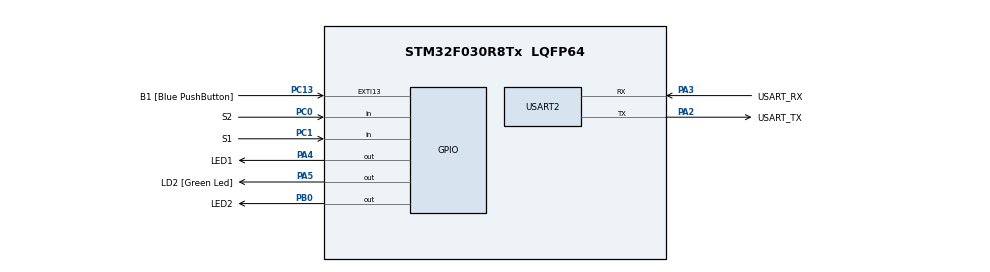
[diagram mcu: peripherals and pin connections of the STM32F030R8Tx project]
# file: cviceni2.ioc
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Mcu.Family=STM32F0
Mcu.Name=STM32F030R8Tx
Mcu.Package=LQFP64
PA13.GPIO_Label=TMS
PA13.Mode=Serial_Wire
PA13.Signal=SYS_SWDIO
PA14.GPIO_Label=TCK
PA14.Mode=Serial_Wire
PA14.Signal=SYS_SWCLK
PA2.GPIO_Label=USART_TX
PA2.GPIO_Mode=GPIO_MODE_AF_PP
PA2.GPIO_PuPd=GPIO_NOPULL
PA2.GPIO_Speed=GPIO_SPEED_FREQ_LOW
PA2.Mode=Asynchronous
PA2.Signal=USART2_TX
PA3.GPIO_Label=USART_RX
PA3.GPIO_Mode=GPIO_MODE_AF_PP
PA3.GPIO_PuPd=GPIO_NOPULL
PA3.GPIO_Speed=GPIO_SPEED_FREQ_LOW
PA3.Mode=Asynchronous
PA3.Signal=USART2_RX
PA4.GPIO_Label=LED1
PA4.Signal=GPIO_Output
PA5.GPIO_Label=LD2 [Green Led]
PA5.GPIO_Mode=GPIO_MODE_OUTPUT_PP
PA5.GPIO_PuPd=GPIO_NOPULL
PA5.GPIO_Speed=GPIO_SPEED_FREQ_LOW
PA5.Signal=GPIO_Output
PB0.GPIO_Label=LED2
PB0.Signal=GPIO_Output
PC0.GPIO_Label=S2
PC0.GPIO_PuPd=GPIO_PULLUP
PC0.Signal=GPIO_Input
PC1.GPIO_Label=S1
PC1.GPIO_PuPd=GPIO_PULLUP
PC1.Signal=GPIO_Input
PC13.GPIO_Label=B1 [Blue PushButton]
PC13.GPIO_ModeDefaultEXTI=GPIO_MODE_IT_FALLING
PC13.Signal=GPXTI13
PC14-OSC32_IN.Mode=LSE-External-Oscillator
PC14-OSC32_IN.Signal=RCC_OSC32_IN
PC15-OSC32_OUT.Mode=LSE-External-Oscillator
PC15-OSC32_OUT.Signal=RCC_OSC32_OUT
PF0-OSC_IN.Mode=HSE-External-Clock-Source
PF0-OSC_IN.Signal=RCC_OSC_IN
PF1-OSC_OUT.Signal=RCC_OSC_OUT
ProjectManager.HeapSize=0x200
ProjectManager.StackSize=0x400
ProjectManager.TargetToolchain=STM32CubeIDE
RCC.AHBFreq_Value=48000000
RCC.APB1Freq_Value=48000000
RCC.APB1TimFreq_Value=48000000
RCC.HCLKFreq_Value=48000000
RCC.PLLMUL=RCC_PLL_MUL12
RCC.SYSCLKFreq_VALUE=48000000
RCC.SYSCLKSource=RCC_SYSCLKSOURCE_PLLCLK
USART2.VirtualMode-Asynchronous=VM_ASYNC
board=NUCLEO-F030R8

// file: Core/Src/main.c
/* USER CODE BEGIN Header */
/**
  ******************************************************************************
  * @file           : main.c
  * @brief          : Main program body
  ******************************************************************************
  * @attention
  *
  * Copyright (c) 2023 STMicroelectronics.
  * All rights reserved.
  *
  * This software is licensed under terms that can be found in the LICENSE file
  * in the root directory of this software component.
  * If no LICENSE file comes with this software, it is provided AS-IS.
  *
  ******************************************************************************
  */
/* USER CODE END Header */
#include "main.h"

/* USER CODE BEGIN PD */
 #define LED_TIME_BLINK 300
 #define LED_TIME_SHORT 100
 #define LED_TIME_LONG 1000
 #define DT 40
 #define DT1 5
/* USER CODE END PD */

void SystemClock_Config(void);
static void MX_GPIO_Init(void);
static void MX_USART2_UART_Init(void);

/* USER CODE BEGIN 0 */
volatile uint32_t Tick;
static uint32_t old_s2;
/*static uint32_t old_s1;
 */
static uint32_t off_time;
static uint16_t debounce = 0xFFFF;

void blikac(void) {
	static uint32_t delay;

	if (Tick > delay + LED_TIME_BLINK) {
		LL_GPIO_TogglePin(LED1_GPIO_Port, LED1_Pin);
		delay = Tick;
	}
}

void tlacitka(void) {
	static uint32_t delay1;
	static uint32_t delay2;
	if (Tick > delay1 + DT) {
		uint32_t new_s2 = LL_GPIO_IsInputPinSet(S2_GPIO_Port, S2_Pin);
		/*
		 * uint32_t new_s1 = LL_GPIO_IsInputPinSet(S1_GPIO_Port, S1_Pin);
		 */
		if (old_s2 && !new_s2) { // falling edge
			off_time = Tick + LED_TIME_SHORT;
			LL_GPIO_SetOutputPin(LED2_GPIO_Port, LED2_Pin);
		}
		old_s2 = new_s2;

		/*
		 if (old_s1 && !new_s1) { // falling edge
		 off_time = Tick + LED_TIME_LONG;
		 LL_GPIO_SetOutputPin(LED2_GPIO_Port, LED2_Pin);
		 }
		 old_s1 = new_s1;
		 delay1 = Tick;
		 */

	}

	if (Tick > off_time) {
		LL_GPIO_ResetOutputPin(LED2_GPIO_Port, LED2_Pin);
	}

	if (Tick > delay2 + DT1) {
		debounce <<= 1;
		if (LL_GPIO_IsInputPinSet(S1_GPIO_Port, S1_Pin)) {
			debounce |= 0x0001;
		}
		if (debounce == 0x7FFF) {

			off_time = Tick + LED_TIME_LONG;
			LL_GPIO_SetOutputPin(LED2_GPIO_Port, LED2_Pin);
			delay1 = Tick;
		}
	}

}
/* USER CODE END 0 */

int main(void)
{

  /* MCU Configuration--------------------------------------------------------*/

  /* Reset of all peripherals, Initializes the Flash interface and the Systick. */
  LL_APB1_GRP2_EnableClock(LL_APB1_GRP2_PERIPH_SYSCFG);
  LL_APB1_GRP1_EnableClock(LL_APB1_GRP1_PERIPH_PWR);

  /* Configure the system clock */
  SystemClock_Config();

  /* Initialize all configured peripherals */
  MX_GPIO_Init();
  MX_USART2_UART_Init();
  /* USER CODE BEGIN 2 */

  LL_SYSTICK_EnableIT();
  /* USER CODE END 2 */

  /* Infinite loop */
  while (1)
  {
	  blikac();
	  tlacitka();
  }
}

void SystemClock_Config(void)
{
  LL_FLASH_SetLatency(LL_FLASH_LATENCY_1);
  while(LL_FLASH_GetLatency() != LL_FLASH_LATENCY_1)
  {
  }
  LL_RCC_HSI_Enable();

   /* Wait till HSI is ready */
  while(LL_RCC_HSI_IsReady() != 1)
  {

  }
  LL_RCC_HSI_SetCalibTrimming(16);
  LL_RCC_PLL_ConfigDomain_SYS(LL_RCC_PLLSOURCE_HSI_DIV_2, LL_RCC_PLL_MUL_12);
  LL_RCC_PLL_Enable();

   /* Wait till PLL is ready */
  while(LL_RCC_PLL_IsReady() != 1)
  {

  }
  LL_RCC_SetAHBPrescaler(LL_RCC_SYSCLK_DIV_1);
  LL_RCC_SetAPB1Prescaler(LL_RCC_APB1_DIV_1);
  LL_RCC_SetSysClkSource(LL_RCC_SYS_CLKSOURCE_PLL);

   /* Wait till System clock is ready */
  while(LL_RCC_GetSysClkSource() != LL_RCC_SYS_CLKSOURCE_STATUS_PLL)
  {

  }
  LL_Init1msTick(48000000);
  LL_SetSystemCoreClock(48000000);
}

static void MX_USART2_UART_Init(void)
{

  LL_USART_InitTypeDef USART_InitStruct = {0};

  LL_GPIO_InitTypeDef GPIO_InitStruct = {0};

  /* Peripheral clock enable */
  LL_APB1_GRP1_EnableClock(LL_APB1_GRP1_PERIPH_USART2);

  LL_AHB1_GRP1_EnableClock(LL_AHB1_GRP1_PERIPH_GPIOA);
  /**USART2 GPIO Configuration
  PA2   ------> USART2_TX
  PA3   ------> USART2_RX
  */
  GPIO_InitStruct.Pin = USART_TX_Pin;
  GPIO_InitStruct.Mode = LL_GPIO_MODE_ALTERNATE;
  GPIO_InitStruct.Speed = LL_GPIO_SPEED_FREQ_LOW;
  GPIO_InitStruct.OutputType = LL_GPIO_OUTPUT_PUSHPULL;
  GPIO_InitStruct.Pull = LL_GPIO_PULL_NO;
  GPIO_InitStruct.Alternate = LL_GPIO_AF_1;
  LL_GPIO_Init(USART_TX_GPIO_Port, &GPIO_InitStruct);

  GPIO_InitStruct.Pin = USART_RX_Pin;
  GPIO_InitStruct.Mode = LL_GPIO_MODE_ALTERNATE;
  GPIO_InitStruct.Speed = LL_GPIO_SPEED_FREQ_LOW;
  GPIO_InitStruct.OutputType = LL_GPIO_OUTPUT_PUSHPULL;
  GPIO_InitStruct.Pull = LL_GPIO_PULL_NO;
  GPIO_InitStruct.Alternate = LL_GPIO_AF_1;
  LL_GPIO_Init(USART_RX_GPIO_Port, &GPIO_InitStruct);

  USART_InitStruct.BaudRate = 38400;
  USART_InitStruct.DataWidth = LL_USART_DATAWIDTH_8B;
  USART_InitStruct.StopBits = LL_USART_STOPBITS_1;
  USART_InitStruct.Parity = LL_USART_PARITY_NONE;
  USART_InitStruct.TransferDirection = LL_USART_DIRECTION_TX_RX;
  USART_InitStruct.HardwareFlowControl = LL_USART_HWCONTROL_NONE;
  USART_InitStruct.OverSampling = LL_USART_OVERSAMPLING_16;
  LL_USART_Init(USART2, &USART_InitStruct);
  LL_USART_DisableIT_CTS(USART2);
  LL_USART_ConfigAsyncMode(USART2);
  LL_USART_Enable(USART2);

}

static void MX_GPIO_Init(void)
{
  LL_EXTI_InitTypeDef EXTI_InitStruct = {0};
  LL_GPIO_InitTypeDef GPIO_InitStruct = {0};

  /* GPIO Ports Clock Enable */
  LL_AHB1_GRP1_EnableClock(LL_AHB1_GRP1_PERIPH_GPIOC);
  LL_AHB1_GRP1_EnableClock(LL_AHB1_GRP1_PERIPH_GPIOF);
  LL_AHB1_GRP1_EnableClock(LL_AHB1_GRP1_PERIPH_GPIOA);
  LL_AHB1_GRP1_EnableClock(LL_AHB1_GRP1_PERIPH_GPIOB);

  /**/
  LL_GPIO_ResetOutputPin(LED1_GPIO_Port, LED1_Pin);

  /**/
  LL_GPIO_ResetOutputPin(LD2_GPIO_Port, LD2_Pin);

  /**/
  LL_GPIO_ResetOutputPin(LED2_GPIO_Port, LED2_Pin);

  /**/
  LL_SYSCFG_SetEXTISource(LL_SYSCFG_EXTI_PORTC, LL_SYSCFG_EXTI_LINE13);

  /**/
  LL_GPIO_SetPinPull(B1_GPIO_Port, B1_Pin, LL_GPIO_PULL_NO);

  /**/
  LL_GPIO_SetPinMode(B1_GPIO_Port, B1_Pin, LL_GPIO_MODE_INPUT);

  /**/
  EXTI_InitStruct.Line_0_31 = LL_EXTI_LINE_13;
  EXTI_InitStruct.LineCommand = ENABLE;
  EXTI_InitStruct.Mode = LL_EXTI_MODE_IT;
  EXTI_InitStruct.Trigger = LL_EXTI_TRIGGER_FALLING;
  LL_EXTI_Init(&EXTI_InitStruct);

  /**/
  GPIO_InitStruct.Pin = S2_Pin;
  GPIO_InitStruct.Mode = LL_GPIO_MODE_INPUT;
  GPIO_InitStruct.Pull = LL_GPIO_PULL_UP;
  LL_GPIO_Init(S2_GPIO_Port, &GPIO_InitStruct);

  /**/
  GPIO_InitStruct.Pin = S1_Pin;
  GPIO_InitStruct.Mode = LL_GPIO_MODE_INPUT;
  GPIO_InitStruct.Pull = LL_GPIO_PULL_UP;
  LL_GPIO_Init(S1_GPIO_Port, &GPIO_InitStruct);

  /**/
  GPIO_InitStruct.Pin = LED1_Pin;
  GPIO_InitStruct.Mode = LL_GPIO_MODE_OUTPUT;
  GPIO_InitStruct.Speed = LL_GPIO_SPEED_FREQ_LOW;
  GPIO_InitStruct.OutputType = LL_GPIO_OUTPUT_PUSHPULL;
  GPIO_InitStruct.Pull = LL_GPIO_PULL_NO;
  LL_GPIO_Init(LED1_GPIO_Port, &GPIO_InitStruct);

  /**/
  GPIO_InitStruct.Pin = LD2_Pin;
  GPIO_InitStruct.Mode = LL_GPIO_MODE_OUTPUT;
  GPIO_InitStruct.Speed = LL_GPIO_SPEED_FREQ_LOW;
  GPIO_InitStruct.OutputType = LL_GPIO_OUTPUT_PUSHPULL;
  GPIO_InitStruct.Pull = LL_GPIO_PULL_NO;
  LL_GPIO_Init(LD2_GPIO_Port, &GPIO_InitStruct);

  /**/
  GPIO_InitStruct.Pin = LED2_Pin;
  GPIO_InitStruct.Mode = LL_GPIO_MODE_OUTPUT;
  GPIO_InitStruct.Speed = LL_GPIO_SPEED_FREQ_LOW;
  GPIO_InitStruct.OutputType = LL_GPIO_OUTPUT_PUSHPULL;
  GPIO_InitStruct.Pull = LL_GPIO_PULL_NO;
  LL_GPIO_Init(LED2_GPIO_Port, &GPIO_InitStruct);

}

void Error_Handler(void)
{
  __disable_irq();
  while (1)
  {
  }
}
